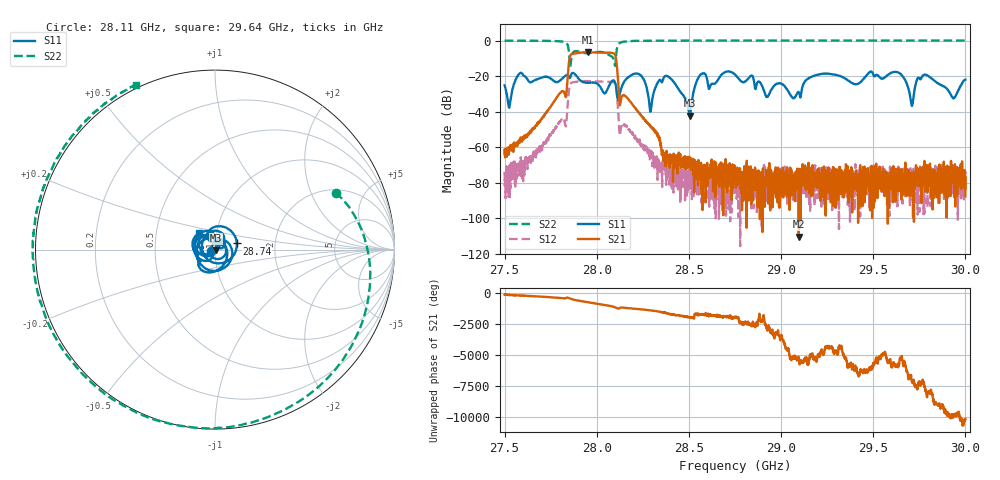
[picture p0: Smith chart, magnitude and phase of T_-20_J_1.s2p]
!Keysight Technologies,N5234A,MY55441357,A.10.47.05
!Date: Sunday, November 19, 2017 16:09:41
!Correction: S11(Full 2 Port(1,2))
!S21(Full 2 Port(1,2))
!S12(Full 2 Port(1,2))
!S22(Full 2 Port(1,2))
!S2P File: Measurements: S11, S21, S12, S22:
# Hz S  dB  R 50
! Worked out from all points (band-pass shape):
!   2501 points, 27.5 GHz to 30 GHz, reference 50 ohm
!   highest |S21| = -6.47 dB at 27.95 GHz (marker M1); lowest = -110.6 dB at 29.1 GHz (marker M2)
!   |S21| within 3 dB of the highest: 27.85 GHz to 28.1 GHz (250.1 MHz wide, 0.894 % of centre)
!   lowest |S11| = -42.2 dB at 28.51 GHz (marker M3), VSWR 1.02, Z = 50.7 - j0.426 ohm
!   |S11| at or under -10 dB: start of sweep to end of sweep
!   |S22| runs from -14.9 to 0.2 dB; largest |S21 - S12| = 0.53
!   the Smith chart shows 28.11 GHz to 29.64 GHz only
!   S11 on the Smith chart (normalised r, x): 28.11 GHz: 0.96, -0.01; 28.74 GHz: 1.27, +0.09; 29.64 GHz: 0.82, +0.15
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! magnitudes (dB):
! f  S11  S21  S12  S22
! 27.5 GHz  -25.1  -63.9  -73.8  0.1
! 27.83 GHz  -20.1  -29.8  -46.0  -0.7
! 27.86 GHz  -19.4  -7.8  -23.9  -11.3
! 27.92 GHz  -22.8  -6.6  -22.8  -6.4
! 27.95 GHz  -23.6  -6.5  -22.7  -7.1
! 28.09 GHz  -22.3  -7.0  -23.4  -10.0
! 28.11 GHz  -33.2  -20.1  -36.5  -2.6
! 28.22 GHz  -18.6  -40.0  -57.1  0.0
! 28.29 GHz  -39.4  -48.6  -62.0  0.1
! 28.33 GHz  -23.0  -54.0  -70.5  0.1
! 28.51 GHz  -42.2  -68.2  -71.9  0.1
! 28.57 GHz  -18.9  -75.0  -85.8  0.1
! 28.74 GHz  -18.0  -72.2  -71.7  0.1
! 28.75 GHz  -19.0  -71.1  -79.5  0.1
! 29.1 GHz  -28.9  -110.6  -82.1  0.1
! 29.17 GHz  -20.2  -85.2  -73.5  0.1
! 29.58 GHz  -18.9  -79.8  -78.0  0.2
! 29.64 GHz  -17.9  -79.7  -77.2  0.2
! 29.71 GHz  -36.5  -80.6  -85.1  0.1
! 29.78 GHz  -19.1  -79.9  -97.2  0.2
! 29.93 GHz  -32.3  -75.7  -76.1  0.2
! 30 GHz  -21.9  -87.7  -74.9  0.2
